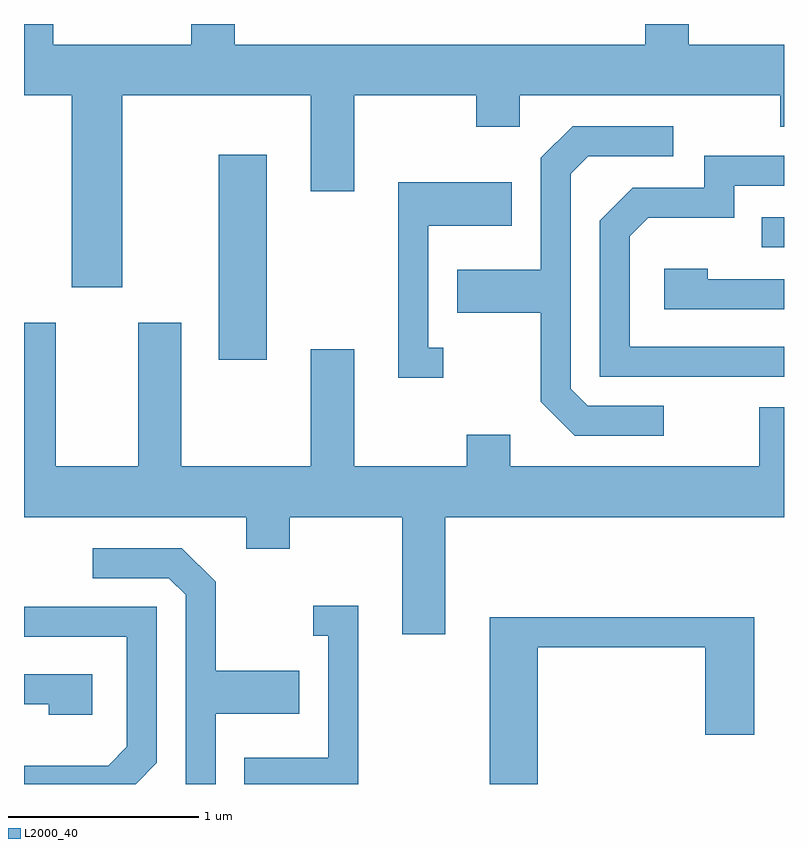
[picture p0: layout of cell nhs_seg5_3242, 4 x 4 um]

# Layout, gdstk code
import gdstk
lib = gdstk.Library(unit=1e-6, precision=1e-09)
def R(c, l, rs):  # rectangles x0, y0, x1, y1
    for r in rs: c.add(gdstk.rectangle(r[:2], r[2:], *l))
def P(c, l, *ps):  # polygons
    for p in ps: c.add(gdstk.Polygon(p, *l))
L2000_40 = (2000, 40)

nhs_seg5_3242 = lib.new_cell('nhs_seg5_3242')
R(nhs_seg5_3242, L2000_40, [(282.636,1444.306,282.889,1445.384), (285.493,1444.896,285.611,1445.054)])
P(nhs_seg5_3242, L2000_40, [(282.129,1445.696),(283.121,1445.696),(283.121,1445.191),(283.349,1445.191),(283.349,1445.696),(283.991,1445.696),(283.991,1445.531),(284.219,1445.531),(284.219,1445.696),(285.591,1445.696),(285.591,1445.531),(285.611,1445.531),(285.611,1445.964),(285.109,1445.964),(285.109,1446.072),(284.881,1446.072),(284.881,1445.964),(282.719,1445.964),(282.719,1446.072),(282.491,1446.072),(282.491,1445.964),(281.764,1445.964),(281.764,1446.072),(281.611,1446.072),(281.611,1445.696),(281.861,1445.696),(281.861,1444.686),(282.129,1444.686)],
  [(284.978,1444.064),(284.577,1444.064),(284.489,1444.152),(284.489,1445.284),(284.582,1445.376),(285.028,1445.376),(285.028,1445.534),(284.499,1445.534),(284.331,1445.367),(284.331,1444.779),(283.891,1444.779),(283.891,1444.551),(284.331,1444.551),(284.331,1444.084),(284.509,1443.906),(284.978,1443.906)],
  [(285.611,1444.374),(284.799,1444.374),(284.799,1444.954),(284.897,1445.051),(285.349,1445.051),(285.349,1445.221),(285.611,1445.221),(285.611,1445.379),(285.191,1445.379),(285.191,1445.209),(284.814,1445.209),(284.641,1445.037),(284.641,1444.216),(285.611,1444.216)],
  [(283.818,1444.369),(283.739,1444.369),(283.739,1445.011),(284.179,1445.011),(284.179,1445.239),(283.581,1445.239),(283.581,1444.211),(283.818,1444.211)],
  [(285.611,1444.729),(285.209,1444.729),(285.209,1444.784),(284.981,1444.784),(284.981,1444.571),(285.611,1444.571)],
  [(283.829,1443.476),(285.611,1443.476),(285.611,1444.054),(285.481,1444.054),(285.481,1443.744),(284.169,1443.744),(284.169,1443.909),(283.941,1443.909),(283.941,1443.744),(283.349,1443.744),(283.349,1444.359),(283.121,1444.359),(283.121,1443.744),(282.439,1443.744),(282.439,1444.499),(282.211,1444.499),(282.211,1443.744),(281.779,1443.744),(281.779,1444.499),(281.611,1444.499),(281.611,1443.476),(282.781,1443.476),(282.781,1443.311),(283.009,1443.311),(283.009,1443.476),(283.601,1443.476),(283.601,1442.861),(283.829,1442.861)],
  [(282.619,1442.441),(283.059,1442.441),(283.059,1442.669),(282.619,1442.669),(282.619,1443.137),(282.442,1443.314),(281.973,1443.314),(281.973,1443.156),(282.374,1443.156),(282.461,1443.069),(282.461,1442.072),(282.619,1442.072)],
  [(283.369,1443.009),(283.133,1443.009),(283.133,1442.851),(283.211,1442.851),(283.211,1442.209),(282.771,1442.209),(282.771,1442.072),(283.369,1442.072)],
  [(282.309,1442.184),(282.309,1443.004),(281.611,1443.004),(281.611,1442.846),(282.151,1442.846),(282.151,1442.267),(282.054,1442.169),(281.611,1442.169),(281.611,1442.072),(282.198,1442.072)],
  [(284.314,1442.791),(285.196,1442.791),(285.196,1442.331),(285.454,1442.331),(285.454,1442.949),(284.061,1442.949),(284.061,1442.072),(284.314,1442.072)],
  [(281.969,1442.649),(281.611,1442.649),(281.611,1442.491),(281.741,1442.491),(281.741,1442.436),(281.969,1442.436)])

lib.write_gds('nhs_seg5_3242.gds')
